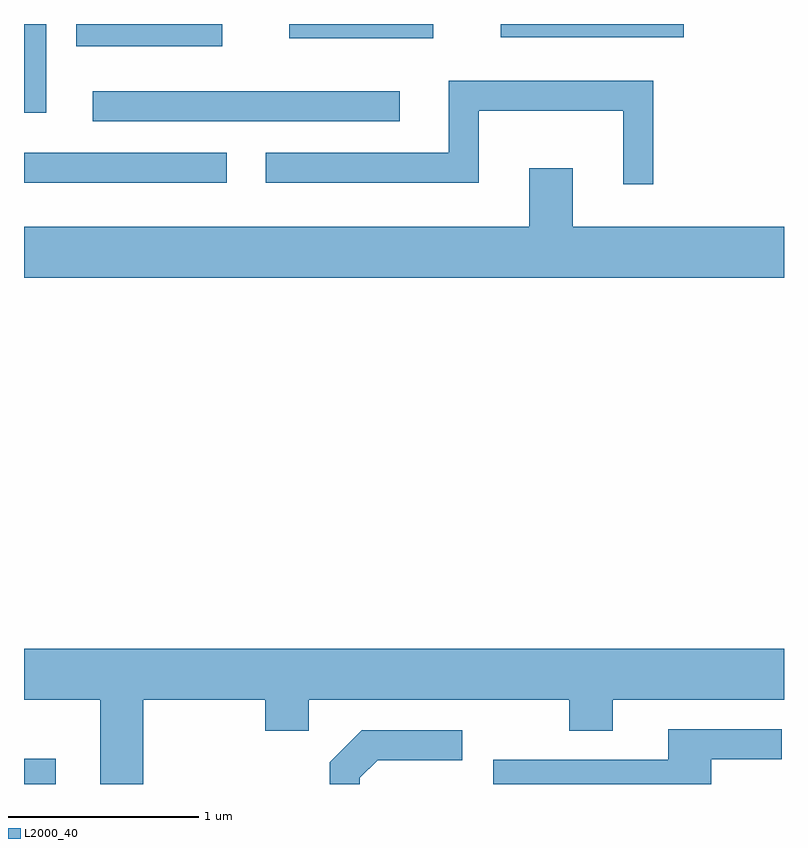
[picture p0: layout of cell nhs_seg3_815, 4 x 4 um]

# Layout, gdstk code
import gdstk
lib = gdstk.Library(unit=1e-6, precision=1e-09)
def R(c, l, rs):  # rectangles x0, y0, x1, y1
    for r in rs: c.add(gdstk.rectangle(r[:2], r[2:], *l))
def P(c, l, *ps):  # polygons
    for p in ps: c.add(gdstk.Polygon(p, *l))
L2000_40 = (2000, 40)

nhs_seg3_815 = lib.new_cell('nhs_seg3_815')
R(nhs_seg3_815, L2000_40, [(207.611,1249.892,207.779,1250.024), (207.611,1253.056,208.678,1253.214), (207.973,1253.381,209.588,1253.539), (207.611,1253.426,207.729,1253.892), (207.886,1253.776,208.654,1253.892), (209.006,1253.816,209.764,1253.892), (210.121,1253.821,211.084,1253.892)])
P(nhs_seg3_815, L2000_40, [(210.924,1253.594),(209.846,1253.594),(209.846,1253.214),(208.883,1253.214),(208.883,1253.056),(210.004,1253.056),(210.004,1253.436),(210.766,1253.436),(210.766,1253.048),(210.924,1253.048)],
  [(211.611,1252.824),(210.499,1252.824),(210.499,1253.134),(210.271,1253.134),(210.271,1252.824),(207.611,1252.824),(207.611,1252.556),(211.611,1252.556)],
  [(208.239,1250.336),(208.881,1250.336),(208.881,1250.171),(209.109,1250.171),(209.109,1250.336),(210.481,1250.336),(210.481,1250.171),(210.709,1250.171),(210.709,1250.336),(211.611,1250.336),(211.611,1250.604),(207.611,1250.604),(207.611,1250.336),(208.011,1250.336),(208.011,1249.892),(208.239,1249.892)],
  [(211.229,1250.021),(211.598,1250.021),(211.598,1250.179),(211.001,1250.179),(211.001,1250.019),(210.081,1250.019),(210.081,1249.892),(211.229,1249.892)],
  [(209.379,1249.924),(209.472,1250.016),(209.918,1250.016),(209.918,1250.174),(209.389,1250.174),(209.221,1250.007),(209.221,1249.892),(209.379,1249.892)])

lib.write_gds('nhs_seg3_815.gds')
